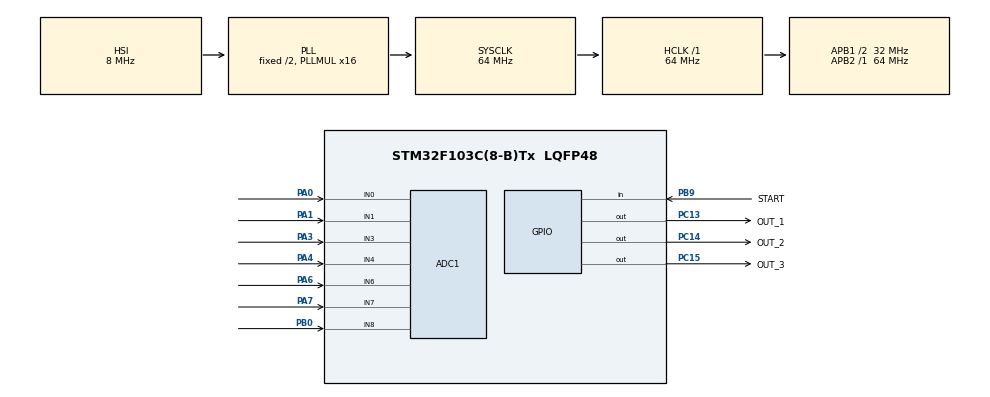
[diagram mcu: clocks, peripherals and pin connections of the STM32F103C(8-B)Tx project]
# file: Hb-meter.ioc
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ADC1.Channel-10\#ChannelRegularConversion=ADC_CHANNEL_1
ADC1.Channel-11\#ChannelRegularConversion=ADC_CHANNEL_3
ADC1.Channel-12\#ChannelRegularConversion=ADC_CHANNEL_4
ADC1.Channel-13\#ChannelRegularConversion=ADC_CHANNEL_6
ADC1.Channel-14\#ChannelRegularConversion=ADC_CHANNEL_7
ADC1.Channel-15\#ChannelRegularConversion=ADC_CHANNEL_8
ADC1.Channel-9\#ChannelRegularConversion=ADC_CHANNEL_0
ADC1.DiscontinuousConvMode=ENABLE
ADC1.EnableInjectedConversion=DISABLE
ADC1.EnableRegularConversion=ENABLE
ADC1.InjNumberOfConversion=0
ADC1.NbrOfConversion=7
ADC1.NbrOfConversionFlag=1
ADC1.NbrOfDiscConversion=1
ADC1.Rank-10\#ChannelRegularConversion=2
ADC1.Rank-11\#ChannelRegularConversion=3
ADC1.Rank-12\#ChannelRegularConversion=4
ADC1.Rank-13\#ChannelRegularConversion=5
ADC1.Rank-14\#ChannelRegularConversion=6
ADC1.Rank-15\#ChannelRegularConversion=7
ADC1.Rank-9\#ChannelRegularConversion=1
ADC1.SamplingTime-10\#ChannelRegularConversion=ADC_SAMPLETIME_239CYCLES_5
ADC1.SamplingTime-11\#ChannelRegularConversion=ADC_SAMPLETIME_239CYCLES_5
ADC1.SamplingTime-12\#ChannelRegularConversion=ADC_SAMPLETIME_239CYCLES_5
ADC1.SamplingTime-13\#ChannelRegularConversion=ADC_SAMPLETIME_239CYCLES_5
ADC1.SamplingTime-14\#ChannelRegularConversion=ADC_SAMPLETIME_239CYCLES_5
ADC1.SamplingTime-15\#ChannelRegularConversion=ADC_SAMPLETIME_239CYCLES_5
ADC1.SamplingTime-9\#ChannelRegularConversion=ADC_SAMPLETIME_239CYCLES_5
ADC1.master=1
Mcu.Family=STM32F1
Mcu.Name=STM32F103C(8-B)Tx
Mcu.Package=LQFP48
NVIC.PriorityGroup=NVIC_PRIORITYGROUP_4
NVIC.TIM1_UP_IRQn=true\:0\:0\:false\:false\:true\:true\:true
PA0-WKUP.Signal=ADCx_IN0
PA1.Signal=ADCx_IN1
PA13.Mode=Serial_Wire
PA13.Signal=SYS_JTMS-SWDIO
PA14.Mode=Serial_Wire
PA14.Signal=SYS_JTCK-SWCLK
PA3.Signal=ADCx_IN3
PA4.Signal=ADCx_IN4
PA6.Signal=ADCx_IN6
PA7.Signal=ADCx_IN7
PB0.Signal=ADCx_IN8
PB9.GPIO_Label=START
PB9.GPIO_PuPd=GPIO_PULLUP
PB9.Signal=GPIO_Input
PC13-TAMPER-RTC.GPIO_Label=OUT_1
PC13-TAMPER-RTC.GPIO_PuPd=GPIO_PULLDOWN
PC13-TAMPER-RTC.GPIO_Speed=GPIO_SPEED_FREQ_HIGH
PC13-TAMPER-RTC.PinState=GPIO_PIN_RESET
PC13-TAMPER-RTC.Signal=GPIO_Output
PC14-OSC32_IN.GPIO_Label=OUT_2
PC14-OSC32_IN.GPIO_ModeDefaultOutputPP=GPIO_MODE_OUTPUT_PP
PC14-OSC32_IN.GPIO_PuPd=GPIO_PULLDOWN
PC14-OSC32_IN.GPIO_Speed=GPIO_SPEED_FREQ_HIGH
PC14-OSC32_IN.PinState=GPIO_PIN_RESET
PC14-OSC32_IN.Signal=GPIO_Output
PC15-OSC32_OUT.GPIO_Label=OUT_3
PC15-OSC32_OUT.GPIO_PuPd=GPIO_PULLDOWN
PC15-OSC32_OUT.GPIO_Speed=GPIO_SPEED_FREQ_HIGH
PC15-OSC32_OUT.PinState=GPIO_PIN_RESET
PC15-OSC32_OUT.Signal=GPIO_Output
ProjectManager.HeapSize=0x200
ProjectManager.StackSize=0x400
ProjectManager.TargetToolchain=STM32CubeIDE
RCC.ADCPresc=RCC_ADCPCLK2_DIV8
RCC.AHBFreq_Value=64000000
RCC.APB1CLKDivider=RCC_HCLK_DIV2
RCC.APB1Freq_Value=32000000
RCC.APB1TimFreq_Value=64000000
RCC.APB2Freq_Value=64000000
RCC.APB2TimFreq_Value=64000000
RCC.HCLKFreq_Value=64000000
RCC.PLLMUL=RCC_PLL_MUL16
RCC.SYSCLKFreq_VALUE=64000000
RCC.SYSCLKSource=RCC_SYSCLKSOURCE_PLLCLK
RCC.USBFreq_Value=64000000
SH.ADCx_IN0.0=ADC1_IN0,IN0
SH.ADCx_IN1.0=ADC1_IN1,IN1
SH.ADCx_IN3.0=ADC1_IN3,IN3
SH.ADCx_IN4.0=ADC1_IN4,IN4
SH.ADCx_IN6.0=ADC1_IN6,IN6
SH.ADCx_IN7.0=ADC1_IN7,IN7
SH.ADCx_IN8.0=ADC1_IN8,IN8
VP_TIM1_VS_ClockSourceINT.Mode=Internal
board=custom

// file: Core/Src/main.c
/* USER CODE BEGIN Header */
/**
  ******************************************************************************
  * @file           : main.c
  * @brief          : Main program body
  ******************************************************************************
  * @attention
  *
  * <h2><center>&copy; Copyright (c) 2021 STMicroelectronics.
  * All rights reserved.</center></h2>
  *
  * This software component is licensed by ST under BSD 3-Clause license,
  * the "License"; You may not use this file except in compliance with the
  * License. You may obtain a copy of the License at:
  *                        opensource.org/licenses/BSD-3-Clause
  *
  ******************************************************************************
  */
/* USER CODE END Header */
#include "main.h"

/* USER CODE BEGIN Includes */
#include "math.h"
/* USER CODE END Includes */

ADC_HandleTypeDef hadc1;

TIM_HandleTypeDef htim1;

/* USER CODE BEGIN PV */
uint32_t leds[3];
uint16_t ledActive;
uint16_t dat_660_discr_1,dat_660_discr_2,dat_880_discr_1,dat_880_discr_2,dat_940_discr_1,dat_940_discr_2;
float data_660nm_1,data_660nm_2,data_880nm_1,data_880nm_2,data_940nm_1,data_940nm_2,delta1,delta2,delta3;
float OD_660nm,OD_880nm,OD_940nm,Ua_660nm,Ua_880nm,Ua_940nm,CHb,CHbO2,CH2O;
float det, T, Tstart, deltaT;
//     Extinction matrix
float E_hb_660=0.8; float E_HbO2_660=0.08; float E_H2O_660=0.001;
float E_hb_880=0.2; float E_HbO2_880=0.3;  float E_H2O_880=0.05;
float E_hb_940=0.2; float E_HbO2_940=0.3;  float E_H2O_940=0.08;
//inverted extinction matrix
float E_Hb_660_=119.048; float E_HbO2_660_=29.762; float E_H2O_660_=29.762;
float E_Hb_880_=11.905; float E_HbO2_880_=44.643;  float E_H2O_880_=44.643;
float E_Hb_940_=0.149; float E_HbO2_940_=7.441;  float E_H2O_940_=11.905;
uint8_t i=0;
/* USER CODE END PV */

void SystemClock_Config(void);
static void MX_GPIO_Init(void);
static void MX_ADC1_Init(void);
static void MX_TIM1_Init(void);
/* USER CODE BEGIN PFP */
void timerUpCallBack(void);
void timerEventHandler(uint8_t i);
/* USER CODE END PFP */

int main(void)
{
  /* USER CODE BEGIN 1 */
    leds[0]=0x2000;
    leds[1]=0x4000;
    leds[2]=0x8000;
    i=0;
  /* USER CODE END 1 */

  /* MCU Configuration--------------------------------------------------------*/

  /* Reset of all peripherals, Initializes the Flash interface and the Systick. */
  HAL_Init();

  /* Configure the system clock */
  SystemClock_Config();

  /* Initialize all configured peripherals */
  MX_GPIO_Init();
  MX_ADC1_Init();
  MX_TIM1_Init();
  /* USER CODE BEGIN 2 */
  while((GPIOB->IDR)&GPIO_IDR_IDR9){};
  HAL_TIM_Base_Start_IT(&htim1);
  HAL_Delay(1);
  ADC1->CR2 |= ADC_CR2_CAL; // запуск калибровки
  while ((ADC1->CR2 & ADC_CR2_CAL) != 0){} ; // ожидание окончания калибровки
  HAL_ADCEx_Calibration_Start(&hadc1);

  ADC1->CR2 &= ~ADC_CR2_ADON; // запретить АЦП
  ADC1->CR2 |= ADC_CR2_EXTSEL; // источник запуска - SWSTART
  ADC1->CR2 |= ADC_CR2_EXTTRIG; // разрешение внешнего запуска для регулярных каналов
//     ADC1->SQR1 =0; // 1 регулярный канал
//     ADC1->SQR3 =0; // 1 преобразование - канал 0
  ADC1->CR2 &= ~ADC_CR2_CONT; // запрет непрерывного режима
  ADC1->CR1 &= ~ADC_CR1_SCAN; // запрет режима сканирования
  ADC1->CR2 |= ADC_CR2_ADON;
  /////////////////////////////////////////// TEMP start MEAS ///////////////////////////////
  ADC1->CR2 |= ADC_CR2_EXTSEL; // источник запуска - SWSTART
  ADC1->CR2 |= ADC_CR2_EXTTRIG; // разрешение внешнего запуска для регулярных каналов
ADC1->SQR1 =0; // 1 регулярный канал
ADC1->SQR3 =0x08; // 1 преобразование - канал 9
ADC1->CR2 &= ~ADC_CR2_CONT; // запрет непрерывного режима
ADC1->CR1 &= ~ADC_CR1_SCAN; // запрет режима сканирования
ADC1->CR2 |= ADC_CR2_ADON;
ADC1->CR2 |= ADC_CR2_SWSTART; // запуск АЦП
while(!(ADC1->SR & ADC_SR_EOC)); // ожидание завершения преобразования
Tstart=(float)((ADC1->DR)*3.3)/4096;
Tstart = (Tstart-0.5)/0.01;
//Tstart=(float)((((ADC1->DR)*5)/4096)-0.5);

ADC1->CR2 &= ~ADC_CR2_SWSTART; // выключение АЦП
ADC1->CR2 &= ~ADC_CR2_ADON;
////////////////////////////////////////////////////////////////////////////////////////

     ADC1->CR2 &= ~ADC_CR2_ADON; // запретить АЦП
     ADC1->CR2 |= ADC_CR2_EXTSEL; // источник запуска - SWSTART
     ADC1->CR2 |= ADC_CR2_EXTTRIG; // разрешение внешнего запуска для регулярных каналов
//     ADC1->SQR1 =0; // 1 регулярный канал
//     ADC1->SQR3 =0; // 1 преобразование - канал 0
     ADC1->CR2 &= ~ADC_CR2_CONT; // запрет непрерывного режима
     ADC1->CR1 &= ~ADC_CR1_SCAN; // запрет режима сканирования
     ADC1->CR2 |= ADC_CR2_ADON;
  /* USER CODE END 2 */

  /* Infinite loop */
  while (1)
  {

  }
}

void SystemClock_Config(void)
{
  RCC_OscInitTypeDef RCC_OscInitStruct = {0};
  RCC_ClkInitTypeDef RCC_ClkInitStruct = {0};
  RCC_PeriphCLKInitTypeDef PeriphClkInit = {0};

  /** Initializes the RCC Oscillators according to the specified parameters
  * in the RCC_OscInitTypeDef structure.
  */
  RCC_OscInitStruct.OscillatorType = RCC_OSCILLATORTYPE_HSI;
  RCC_OscInitStruct.HSIState = RCC_HSI_ON;
  RCC_OscInitStruct.HSICalibrationValue = RCC_HSICALIBRATION_DEFAULT;
  RCC_OscInitStruct.PLL.PLLState = RCC_PLL_ON;
  RCC_OscInitStruct.PLL.PLLSource = RCC_PLLSOURCE_HSI_DIV2;
  RCC_OscInitStruct.PLL.PLLMUL = RCC_PLL_MUL16;
  if (HAL_RCC_OscConfig(&RCC_OscInitStruct) != HAL_OK)
  {
    Error_Handler();
  }
  /** Initializes the CPU, AHB and APB buses clocks
  */
  RCC_ClkInitStruct.ClockType = RCC_CLOCKTYPE_HCLK|RCC_CLOCKTYPE_SYSCLK
                              |RCC_CLOCKTYPE_PCLK1|RCC_CLOCKTYPE_PCLK2;
  RCC_ClkInitStruct.SYSCLKSource = RCC_SYSCLKSOURCE_PLLCLK;
  RCC_ClkInitStruct.AHBCLKDivider = RCC_SYSCLK_DIV1;
  RCC_ClkInitStruct.APB1CLKDivider = RCC_HCLK_DIV2;
  RCC_ClkInitStruct.APB2CLKDivider = RCC_HCLK_DIV1;

  if (HAL_RCC_ClockConfig(&RCC_ClkInitStruct, FLASH_LATENCY_2) != HAL_OK)
  {
    Error_Handler();
  }
  PeriphClkInit.PeriphClockSelection = RCC_PERIPHCLK_ADC;
  PeriphClkInit.AdcClockSelection = RCC_ADCPCLK2_DIV8;
  if (HAL_RCCEx_PeriphCLKConfig(&PeriphClkInit) != HAL_OK)
  {
    Error_Handler();
  }
}

static void MX_ADC1_Init(void)
{

  ADC_ChannelConfTypeDef sConfig = {0};

  /** Common config
  */
  hadc1.Instance = ADC1;
  hadc1.Init.ScanConvMode = ADC_SCAN_ENABLE;
  hadc1.Init.ContinuousConvMode = DISABLE;
  hadc1.Init.DiscontinuousConvMode = ENABLE;
  hadc1.Init.NbrOfDiscConversion = 1;
  hadc1.Init.ExternalTrigConv = ADC_SOFTWARE_START;
  hadc1.Init.DataAlign = ADC_DATAALIGN_RIGHT;
  hadc1.Init.NbrOfConversion = 7;
  if (HAL_ADC_Init(&hadc1) != HAL_OK)
  {
    Error_Handler();
  }
  /** Configure Regular Channel
  */
  sConfig.Channel = ADC_CHANNEL_0;
  sConfig.Rank = ADC_REGULAR_RANK_1;
  sConfig.SamplingTime = ADC_SAMPLETIME_239CYCLES_5;
  if (HAL_ADC_ConfigChannel(&hadc1, &sConfig) != HAL_OK)
  {
    Error_Handler();
  }
  /** Configure Regular Channel
  */
  sConfig.Channel = ADC_CHANNEL_1;
  sConfig.Rank = ADC_REGULAR_RANK_2;
  if (HAL_ADC_ConfigChannel(&hadc1, &sConfig) != HAL_OK)
  {
    Error_Handler();
  }
  /** Configure Regular Channel
  */
  sConfig.Channel = ADC_CHANNEL_3;
  sConfig.Rank = ADC_REGULAR_RANK_3;
  if (HAL_ADC_ConfigChannel(&hadc1, &sConfig) != HAL_OK)
  {
    Error_Handler();
  }
  /** Configure Regular Channel
  */
  sConfig.Channel = ADC_CHANNEL_4;
  sConfig.Rank = ADC_REGULAR_RANK_4;
  if (HAL_ADC_ConfigChannel(&hadc1, &sConfig) != HAL_OK)
  {
    Error_Handler();
  }
  /** Configure Regular Channel
  */
  sConfig.Channel = ADC_CHANNEL_6;
  sConfig.Rank = ADC_REGULAR_RANK_5;
  if (HAL_ADC_ConfigChannel(&hadc1, &sConfig) != HAL_OK)
  {
    Error_Handler();
  }
  /** Configure Regular Channel
  */
  sConfig.Channel = ADC_CHANNEL_7;
  sConfig.Rank = ADC_REGULAR_RANK_6;
  if (HAL_ADC_ConfigChannel(&hadc1, &sConfig) != HAL_OK)
  {
    Error_Handler();
  }
  /** Configure Regular Channel
  */
  sConfig.Channel = ADC_CHANNEL_8;
  sConfig.Rank = ADC_REGULAR_RANK_7;
  if (HAL_ADC_ConfigChannel(&hadc1, &sConfig) != HAL_OK)
  {
    Error_Handler();
  }

}

static void MX_TIM1_Init(void)
{

  TIM_ClockConfigTypeDef sClockSourceConfig = {0};
  TIM_MasterConfigTypeDef sMasterConfig = {0};

  htim1.Instance = TIM1;
  htim1.Init.Prescaler = 0;
  htim1.Init.CounterMode = TIM_COUNTERMODE_UP;
  htim1.Init.Period = 65535;
  htim1.Init.ClockDivision = TIM_CLOCKDIVISION_DIV1;
  htim1.Init.RepetitionCounter = 0;
  htim1.Init.AutoReloadPreload = TIM_AUTORELOAD_PRELOAD_DISABLE;
  if (HAL_TIM_Base_Init(&htim1) != HAL_OK)
  {
    Error_Handler();
  }
  sClockSourceConfig.ClockSource = TIM_CLOCKSOURCE_INTERNAL;
  if (HAL_TIM_ConfigClockSource(&htim1, &sClockSourceConfig) != HAL_OK)
  {
    Error_Handler();
  }
  sMasterConfig.MasterOutputTrigger = TIM_TRGO_RESET;
  sMasterConfig.MasterSlaveMode = TIM_MASTERSLAVEMODE_DISABLE;
  if (HAL_TIMEx_MasterConfigSynchronization(&htim1, &sMasterConfig) != HAL_OK)
  {
    Error_Handler();
  }

}

static void MX_GPIO_Init(void)
{
  LL_GPIO_InitTypeDef GPIO_InitStruct = {0};

  /* GPIO Ports Clock Enable */
  LL_APB2_GRP1_EnableClock(LL_APB2_GRP1_PERIPH_GPIOC);
  LL_APB2_GRP1_EnableClock(LL_APB2_GRP1_PERIPH_GPIOA);
  LL_APB2_GRP1_EnableClock(LL_APB2_GRP1_PERIPH_GPIOB);

  /**/
  LL_GPIO_ResetOutputPin(GPIOC, OUT_1_Pin|OUT_2_Pin|OUT_3_Pin);

  /**/
  GPIO_InitStruct.Pin = OUT_1_Pin|OUT_2_Pin|OUT_3_Pin;
  GPIO_InitStruct.Mode = LL_GPIO_MODE_OUTPUT;
  GPIO_InitStruct.Speed = LL_GPIO_SPEED_FREQ_HIGH;
  GPIO_InitStruct.OutputType = LL_GPIO_OUTPUT_PUSHPULL;
  GPIO_InitStruct.Pull = LL_GPIO_PULL_DOWN;
  LL_GPIO_Init(GPIOC, &GPIO_InitStruct);

  /**/
  GPIO_InitStruct.Pin = START_Pin;
  GPIO_InitStruct.Mode = LL_GPIO_MODE_INPUT;
  GPIO_InitStruct.Pull = LL_GPIO_PULL_UP;
  LL_GPIO_Init(START_GPIO_Port, &GPIO_InitStruct);

}

/* USER CODE BEGIN 4 */
void timerUpCallBack(void){
i+=1;
if(i>2){
    i=0;
}
timerEventHandler(i);
ledActive=i*100;
}
void timerEventHandler(uint8_t i){
    GPIOC->ODR=leds[i];
    if(i==0){                //    660 nm LED
         ADC1->CR2 |= ADC_CR2_EXTSEL; // источник запуска - SWSTART
         ADC1->CR2 |= ADC_CR2_EXTTRIG; // разрешение внешнего запуска для регулярных каналов
     ADC1->SQR1 =0; // 1 регулярный канал
     ADC1->SQR3 =0x00; // 1 преобразование - канал 0
     ADC1->CR2 &= ~ADC_CR2_CONT; // запрет непрерывного режима
     ADC1->CR1 &= ~ADC_CR1_SCAN; // запрет режима сканирования
     ADC1->CR2 |= ADC_CR2_ADON;
     ADC1->CR2 |= ADC_CR2_SWSTART; // запуск АЦП
       while(!(ADC1->SR & ADC_SR_EOC)); // ожидание завершения преобразования
       dat_660_discr_1=(ADC1->DR);
       ADC1->CR2 &= ~ADC_CR2_SWSTART; // выключение АЦП
       ADC1->CR2 &= ~ADC_CR2_ADON;

   ADC1->SQR1 =0; // 1 регулярный канал
   ADC1->SQR3 =0x01; // 1 преобразование - канал 1
   ADC1->CR2 |= ADC_CR2_ADON; // разрешить АЦП
   ADC1->CR2 |= ADC_CR2_SWSTART; // запуск АЦП
   while(!(ADC1->SR & ADC_SR_EOC)); // ожидание завершения преобразования
          dat_660_discr_2=ADC1->DR;
       ADC1->CR2 &= ~ADC_CR2_SWSTART; // выключение АЦП
       ADC1->CR2 &= ~ADC_CR2_ADON;

       if(dat_660_discr_1>=dat_660_discr_2){
      OD_660nm=(float)dat_660_discr_2/dat_660_discr_1;
      OD_660nm=logf(OD_660nm);
     }
     else{
         OD_660nm=(float)dat_660_discr_1/dat_660_discr_2;
         OD_660nm=logf(OD_660nm);
     }
     Ua_660nm=OD_660nm/(-0.508);

}
    if(i==1){            //    880 nm LED
         ADC1->CR2 |= ADC_CR2_EXTSEL; // источник запуска - SWSTART
         ADC1->CR2 |= ADC_CR2_EXTTRIG; // разрешение внешнего запуска для регулярных каналов
         ADC1->SQR1 =0; // 1 регулярный канал
         ADC1->SQR3 =0x03; // 1 преобразование - канал 3
         ADC1->CR2 &= ~ADC_CR2_CONT; // запрет непрерывного режима
         ADC1->CR1 &= ~ADC_CR1_SCAN; // запрет режима сканирования
         ADC1->CR2 |= ADC_CR2_ADON; // разрешить АЦП
         ADC1->CR2 |= ADC_CR2_SWSTART; // запуск АЦП
           while(!(ADC1->SR & ADC_SR_EOC)); // ожидание завершения преобразования
           dat_880_discr_1=(ADC1->DR);
           ADC1->CR2 &= ~ADC_CR2_SWSTART; // выключение АЦП
           ADC1->CR2 &= ~ADC_CR2_ADON;

           ADC1->SQR1 =0; // 1 регулярный канал
              ADC1->SQR3 =0x04; // 1 преобразование - канал 4
              ADC1->CR2 |= ADC_CR2_ADON; // разрешить АЦП
              ADC1->CR2 |= ADC_CR2_SWSTART; // запуск АЦП
              while(!(ADC1->SR & ADC_SR_EOC)); // ожидание завершения преобразования
                     dat_880_discr_2=ADC1->DR;
                  ADC1->CR2 &= ~ADC_CR2_SWSTART; // выключение АЦП
                  ADC1->CR2 &= ~ADC_CR2_ADON;

             if(dat_880_discr_1>=dat_880_discr_2){
              OD_880nm=(float)dat_880_discr_2/dat_880_discr_1;
              OD_880nm=logf(OD_880nm);
             }
             else{
                 OD_880nm=(float)dat_880_discr_1/dat_880_discr_2;
                 OD_880nm=logf(OD_880nm);
             }
             Ua_880nm=OD_880nm/(-0.508);
}
    if(i==2){            //    940 nm LED
         ADC1->CR2 |= ADC_CR2_EXTSEL; // источник запуска - SWSTART
         ADC1->CR2 |= ADC_CR2_EXTTRIG; // разрешение внешнего запуска для регулярных каналов
         ADC1->SQR1 =0; // 1 регулярный канал
         ADC1->SQR3 =0x06; // 1 преобразование - канал 6
         ADC1->CR2 &= ~ADC_CR2_CONT; // запрет непрерывного режима
         ADC1->CR1 &= ~ADC_CR1_SCAN; // запрет режима сканирования
         ADC1->CR2 |= ADC_CR2_ADON; // разрешить АЦП
         ADC1->CR2 |= ADC_CR2_SWSTART; // запуск АЦП
           while(!(ADC1->SR & ADC_SR_EOC)); // ожидание завершения преобразования
           dat_940_discr_1=(ADC1->DR);
           ADC1->CR2 &= ~ADC_CR2_SWSTART; // выключение АЦП
           ADC1->CR2 &= ~ADC_CR2_ADON;

       ADC1->SQR1 =0; // 1 регулярный канал
       ADC1->SQR3 =0x07; // 1 преобразование - канал 7
       ADC1->CR2 |= ADC_CR2_ADON; // разрешить АЦП
       ADC1->CR2 |= ADC_CR2_SWSTART; // запуск АЦП
       while(!(ADC1->SR & ADC_SR_EOC)); // ожидание завершения преобразования
              dat_940_discr_2=ADC1->DR;
           ADC1->CR2 &= ~ADC_CR2_SWSTART; // выключение АЦП
           ADC1->CR2 &= ~ADC_CR2_ADON;
//
             if(dat_940_discr_1>=dat_940_discr_2){
              OD_940nm=(float)dat_940_discr_2/dat_940_discr_1;
              OD_940nm=logf(OD_940nm);
             }
             else{
                 OD_940nm=(float)dat_940_discr_1/dat_940_discr_2;
                 OD_940nm=logf(OD_940nm);
             }
             Ua_940nm=OD_940nm/(-0.508);
             /////////////////////////////////////////// TEMP MEAS ///////////////////////////////
             ADC1->CR2 |= ADC_CR2_EXTSEL; // источник запуска - SWSTART
             ADC1->CR2 |= ADC_CR2_EXTTRIG; // разрешение внешнего запуска для регулярных каналов
         ADC1->SQR1 =0; // 1 регулярный канал
         ADC1->SQR3 =0x08; // 1 преобразование - канал 9
         ADC1->CR2 &= ~ADC_CR2_CONT; // запрет непрерывного режима
         ADC1->CR1 &= ~ADC_CR1_SCAN; // запрет режима сканирования
         ADC1->CR2 |= ADC_CR2_ADON;
         ADC1->CR2 |= ADC_CR2_SWSTART; // запуск АЦП
           while(!(ADC1->SR & ADC_SR_EOC)); // ожидание завершения преобразования
        //   T=(float)((((ADC1->DR)*5)/4096)-0.5);
           T=(float)((ADC1->DR)*3.3)/4096;
           T = (T-0.5)/0.01;
           deltaT = T-Tstart;
           ADC1->CR2 &= ~ADC_CR2_SWSTART; // выключение АЦП
           ADC1->CR2 &= ~ADC_CR2_ADON;
//
//     CHb=(E_Hb_660_*Ua_660nm+E_Hb_880_*Ua_880nm+E_Hb_940_*Ua_940nm)*67000;
//     CHbO2=(E_HbO2_660_*Ua_660nm+E_HbO2_880_*Ua_880nm+E_HbO2_940_*Ua_940nm)*67000;
//     CH2O=(E_H2O_660_*Ua_660nm+E_H2O_880_*Ua_880nm+E_H2O_940_*Ua_940nm)*18;
}
    // here we will cound Hb concentrations
}
/* USER CODE END 4 */

void Error_Handler(void)
{
  /* USER CODE BEGIN Error_Handler_Debug */
  /* User can add his own implementation to report the HAL error return state */
  __disable_irq();
  while (1)
  {
//      HAL_GPIO_TogglePin(LED13_GPIO_Port,LED13_Pin);
        HAL_Delay(250);
  }
  /* USER CODE END Error_Handler_Debug */
}
